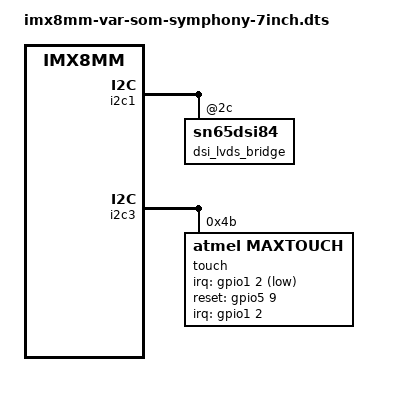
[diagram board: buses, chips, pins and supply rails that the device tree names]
/*
 * Copyright 2021 Thermasol, Blake W. Ford
 */

#include "imx8mm-var-som-symphony-legacy.dts"

&i2c1 {
	dsi_lvds_bridge: sn65dsi84@2c {
		ti,lvds-format = <2>;
		display-timings {
			lvds {
				clock-frequency = <0x1a52480>;
				hactive = <0x320>;
				vactive = <0x1e0>;
				hback-porch = <0x05>;
				hfront-porch = <0x69>;
				vback-porch = <0x2>;
				vfront-porch = <0x18>;
				hsync-len = <0x65>;
				vsync-len = <0x1a>;
			};
		};
	};
};

&i2c3 {
	/* Capacitive touch controller */
	touch@4b {
		compatible = "atmel,maxtouch";
		reg = <0x4b>;
		pinctrl-name = "default";
		pinctrl-0 = <&pinctrl_captouch>;
		interrupt-parent = <&gpio1>;
		interrupts = <2 0>;
		atmel,panel-coords = <0x0 0x0 0x31f 0x1df>;
		atmel,display-coords = <0x0 0x0 0x31f 0x1df>;
		vdd_ana-supplu = <0x2c>;
		irq-gpio = <&gpio1 2 1>;
		reset-gpio = <&gpio5 9 GPIO_ACTIVE_HIGH>;
	};
};
